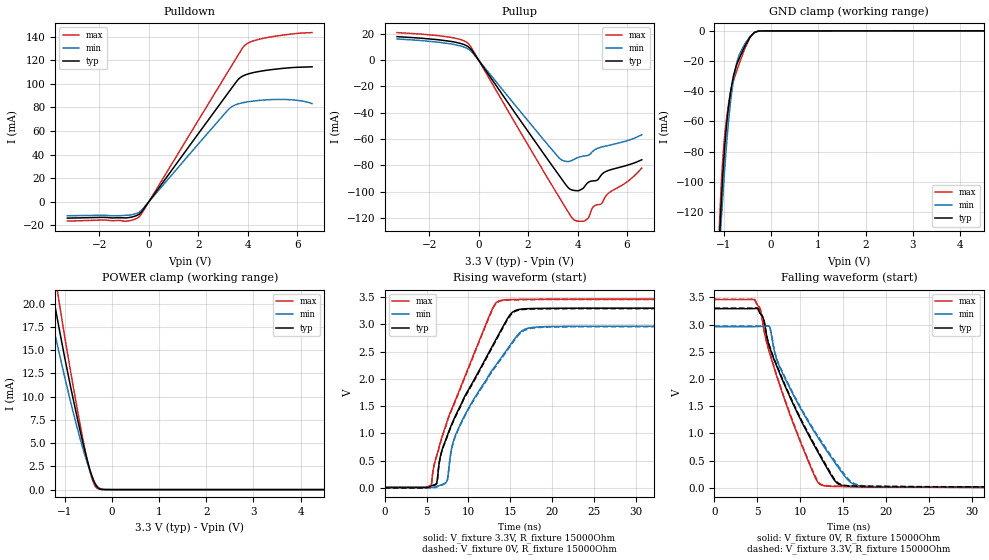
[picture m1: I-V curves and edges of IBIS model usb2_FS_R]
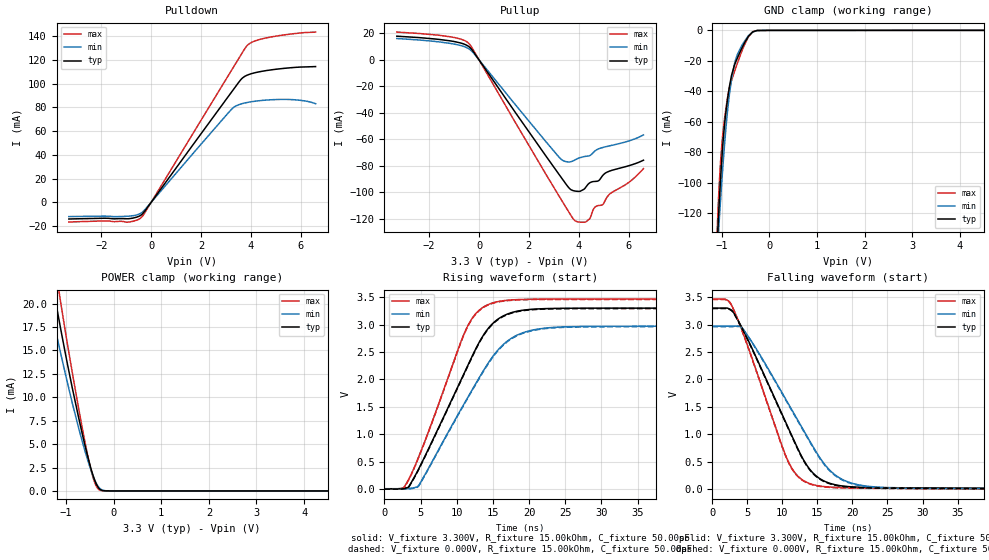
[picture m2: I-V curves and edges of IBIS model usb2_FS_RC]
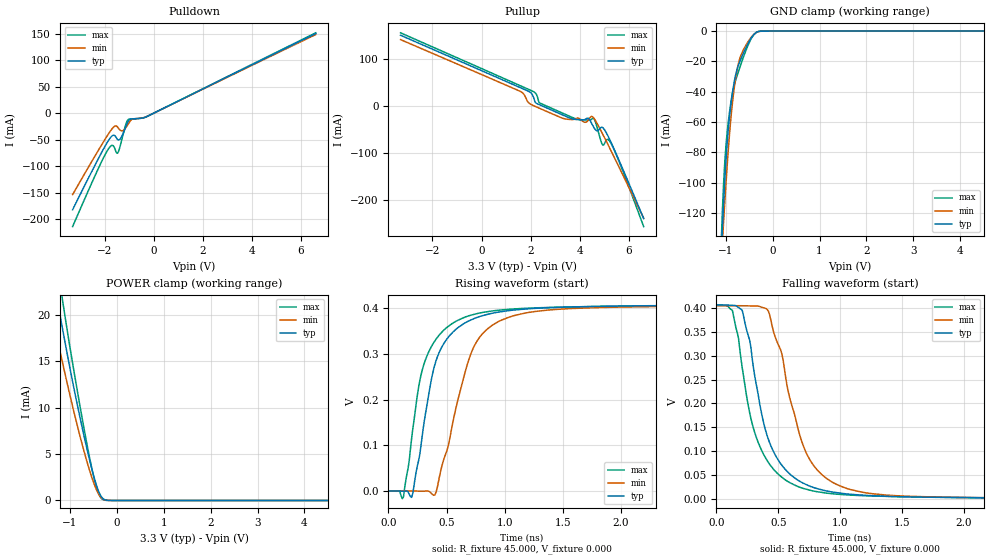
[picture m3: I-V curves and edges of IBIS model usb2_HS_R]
| Texas Instruments Incorporated
| Four-Port USB 2.0 Hub
| Marketing part#   Voltage Range   Package-type   Temperature
| TUSB4041PAP   2.97V - 3.465V   64-Pin PAP   -40 to 85 C
[IBIS Ver]   4.1
[File name]   tusb4041i.ibs
[File Rev]   1.0
[Date]   05/22/2014
[Source]   Model built from TISPICE simulations at:
   Texas Instruments Incorporated.
   Analog-eLab, HPA
   12500 TI Blvd
   Dallas, TX -75243
[Notes]   Rev 1.0: 09/08/2017
   - Model based on v1.0 IBIS model for TUSB8041q1 dated 02/28/2014
[Disclaimer] This product is designed as an aid for customers of Texas Instruments.
                No warranties, either expressed or implied, with respect to this third
                party software (if any) or with respect to its fitness for any
                particular purpose is claimed by Texas Instruments or the author. The
                software (if any) is provided solely on an "as is" basis. The entire
                risk as to its quality and performance is with the customer
[Copyright]   (C)Copyright 2014 Texas Instruments Incorporated.
   All rights reserved.
|   TUSB8041
[Component]   TUSB4041
[Manufacturer]  Texas Instruments Incorporated
[Package]   |64-pin PAP
|   typ   min   max
R_pkg   0.2389   0.0142   0.3346
L_pkg   2.3741nH   1.4298nH   2.8522nH
C_pkg   0.8499pF   0.7143pF   1.0609pF
[PIN]   signal_name   model_name   R_pin   L_pin   C_pin
1   PWRCTL3/BATEN3   BC3340DSHYPBFZP18PD   NA   NA   NA
2   VDD33   POWER   NA   NA   NA
3   PWRCTL2/BATEN2   BC3340DSHYPBFZP18PD   NA   NA   NA
4   PWRCTL1/BATEN1   BC3340DSHYPBFZP18PD   NA   NA   NA
5   SDA/SMBDAT   BC3340DSHYPBFZP18PD   NA   NA   NA
6   SCL/SMBCLK   BC3340DSHYPBFZP18PD   NA   NA   NA
7   SMBUSZ   BC3340DSHYPBFZP18PU   NA   NA   NA
8   FULLPWRMGMTz/SMBA1   BC3340DSHYPBFZP18PD   NA   NA   NA
9   POWCTL_POL   BC3340DSHYPBFZP18PU   NA   NA   NA
10   GANGED/SMBAS2/HS_UP   BC3340DSHYPBFZP18PD   NA   NA   NA
11   OVERCUR4Z   IC33SHYPBFZP18PU   NA   NA   NA
12   OVERCUR3Z   IC33SHYPBFZP18PU   NA   NA   NA
13   AUTOENZ/HS_SUSPEND   BC3340DSHYPBFZP18PU   NA   NA   NA
14   OVERCUR1Z   IC33SHYPBFZP18PU   NA   NA   NA
15   OVERCUR2Z   IC33SHYPBFZP18PU   NA   NA   NA
16   USB_VBUS   IC33SHYPBFZP18   NA   NA   NA
17   TEST   IC33SHYPBFZP18PD   NA   NA   NA
18   GRSTZ   IC33SHYPBFZP18PU   NA   NA   NA
19   VDD   POWER   NA   NA   NA
20   VDD33   POWER   NA   NA   NA
21   USB_DP_UP   usb2   NA   NA   NA
22   USB_DM_UP   usb2   NA   NA   NA
23   RSVD   NC   NA   NA   NA
24   RSVD   NC   NA   NA   NA
25   VDD   POWER   NA   NA   NA
26   RSVD   NC   NA   NA   NA
27   RSVD   NC   NA   NA   NA
28   NC   NC   NA   NA   NA
29   XO   NC   NA   NA   NA
30   XI   NC   NA   NA   NA
31   VDD33   POWER   NA   NA   NA
32   USB_R1   NC   NA   NA   NA
33   USB_DP_DN1   usb2   NA   NA   NA
34   USB_DM_DN1   usb2   NA   NA   NA
35   RSVD   NC   NA   NA   NA
36   RSVD   NC   NA   NA   NA
37   VDD   POWER   NA   NA   NA
38   RSVD   NC   NA   NA   NA
39   RSVD   NC   NA   NA   NA
40   NC   NC   NA   NA   NA
41   USB_DP_DN2   usb2   NA   NA   NA
42   USB_DM_DN2   usb2   NA   NA   NA
43   RSVD   NC   NA   NA   NA
44   RSVD   NC   NA   NA   NA
45   VDD   POWER   NA   NA   NA
46   RSVD   NC   NA   NA   NA
47   RSVD   NC   NA   NA   NA
48   VDD33   POWER   NA   NA   NA
49   USB_DP_DN3   usb2   NA   NA   NA
50   USB_DM_DN3   usb2   NA   NA   NA
51   RSVD   NC   NA   NA   NA
52   RSVD   NC   NA   NA   NA
53   VDD   POWER   NA   NA   NA
54   RSVD   NC   NA   NA   NA
55   RSVD   NC   NA   NA   NA
56   USB_DP_DN4   usb2   NA   NA   NA
57   USB_DM_DN4   usb2   NA   NA   NA
58   RSVD   NC   NA   NA   NA
59   RSVD   NC   NA   NA   NA
60   VDD   POWER   NA   NA   NA
61   RSVD   NC   NA   NA   NA
62   RSVD   NC   NA   NA   NA
63   VDD   POWER   NA   NA   NA
64   PWRCTL4/BATEN4   BC3340DSHYPBFZP18PD   NA   NA   NA
[Diff_pin]   inv_pin   vdiff   tdelay_typ   tdelay_min   tdelay_max
21   22   NA   NA   NA   NA
33   34   NA   NA   NA   NA
41   42   NA   NA   NA   NA
49   50   NA   NA   NA   NA
56   57   NA   NA   NA   NA
[Model Selector] usb2
usb2_HS_R   USB 2.0 High Speed mode, for DP/DM pin 240MHz
usb2_HS_RC   USB 2.0 High Speed mode, for DP/DM pin 240MHz, with Cfixture
usb2_FS_R   USB 2.0 Fast Speed mode, for DP/DM pin 6MHz
usb2_FS_RC   USB 2.0 Fast Speed mode, for DP/DM pin 6MHz, with Cfixture
usb2_LS_RC   USB 2.0 Low  Speed mode, for DP/DM pin 750kHz, with Cfixture
usb2_LS_R   USB 2.0 Low  Speed mode, for DP/DM pin 750kHz
[Model Selector] BC3340DSHYPBFZP18
HYPBFZP18_PI_5P_3P3 BUFFER WITHOUT PULLUP/PULLDOWN & 5% VDDS TOLERANCE
HYPBFZP18_PI_10P_3P3 BUFFER WITHOUT PULLUP/PULLDOWN & 10% VDDS TOLERANCE
[Model Selector] BC3340DSHYPBFZP18PU
FZP18_PU_PI_5P_3P3 BUFFER WITH WEAK PULLUP & 5% VDDS TOLERANCE
FZP18_PU_PI_10P_3P3 BUFFER WITH WEAK PULLUP & 10% VDDS TOLERANCE
[Model Selector] BC3340DSHYPBFZP18PD
FZP18_PD_PI_5P_3P3 BUFFER WITH WEAK PULLDOWN & 5% VDDS TOLERANCE
FZP18_PD_PI_10P_3P3 BUFFER WITH WEAK PULLDOWN & 10% VDDS TOLERANCE
[Model Selector] IC33SHYPBFZP18
C33SHYPBFZP18_10P BUFFER WITHOUT PULLUP/PULLDOWN & 10% VDDS TOLERANCE
C33SHYPBFZP18_5P  BUFFER WITHOUT PULLUP/PULLDOWN & 5% VDDS TOLERANCE
[Model Selector] IC33SHYPBFZP18PD
YPBFZP18_PD_5P BUFFER with WEAK PULLDOWN & 5% VDDS TOLERANCE
YPBFZP18_PD_10P BUFFER with WEAK PULLDOWN & 5% VDDS TOLERANCE
[Model Selector] IC33SHYPBFZP18PU
PBFZP18_PU_5P BUFFER with WEAK PULLUP & 5% VDDS TOLERANCE
PBFZP18_PU_10P BUFFER with WEAK PULLUP & 10% VDDS TOLERANCE
| Models and submodels in the file (18): usb2_FS_R (I/O), usb2_FS_RC (I/O), usb2_HS_R (I/O), usb2_HS_RC (I/O), usb2_LS_R (I/O), usb2_LS_RC (I/O), HYPBFZP18_PI_5P_3P3 (I/O), HYPBFZP18_PI_10P_3P3 (I/O), FZP18_PU_PI_5P_3P3 (I/O), FZP18_PU_PI_10P_3P3 (I/O), FZP18_PD_PI_5P_3P3 (I/O), FZP18_PD_PI_10P_3P3 (I/O), YPBFZP18_PD_10P (Input), PBFZP18_PU_10P (Input), C33SHYPBFZP18_10P (Input), YPBFZP18_PD_5P (Input), PBFZP18_PU_5P (Input), C33SHYPBFZP18_5P (Input)
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|   USB 2.0 Fast Speed mode, for DP pin 6MHz
[Model]   usb2_FS_R
Model_type   I/O
Polarity   Non-Inverting
Enable   Active-High
Vmeas = 1.54
Vref = 0
Rref = 15000
Cref = 50pF
Vinl = 0.8V
Vinh = 2.0V
|   typ   min   max
|   (nom PVT)   (Fast PVT)   (slow PVT)
C_comp   9.0376pF   8.9385pF   9.1512pF
[Voltage Range]   3.3   2.97   3.465
[Temperature Range]   27   105   -40
[Pullup Reference]   3.3   2.97   3.465
[Pulldown Reference]   -0   -0   -0
[Power Clamp Reference]   3.3   2.97   3.465
[GND Clamp Reference]   -0   -0   -0
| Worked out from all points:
|   slope of the pulldown table from 0 to 0.495 V, typ, clamps not added: 34.6 ohm
|   slope of the pullup table from 0 to 0.495 V, typ, clamps not added: 36.8 ohm
|   GND clamp passes 1 mA (typ) near -0.35 V on its own axis
|   POWER clamp passes 1 mA (typ) near -0.39 V on its own axis
|   falling waveform, V_fixture 0V, R_fixture 15000Ohm: 20-80 % time 5.73ns typ, 6.23ns min, 4.47ns max; typ from 3.29 V to 0 V
|   rising waveform, V_fixture 3.3V, R_fixture 15000Ohm: 20-80 % time 6.21ns typ, 6.02ns min, 5.07ns max; typ from 0.008 V to 3.3 V
|   rising waveform, V_fixture 0V, R_fixture 15000Ohm: 20-80 % time 6.24ns typ, 6.08ns min, 5.09ns max; typ from 0 V to 3.29 V
|   falling waveform, V_fixture 3.3V, R_fixture 15000Ohm: 20-80 % time 5.77ns typ, 6.3ns min, 4.5ns max; typ from 3.3 V to 0.008 V
[Pulldown]
|   Voltage   I(typ)   I(min)   I(max)
-3.3V     -13.97mA   -11.94mA   -16.5mA
-1.865V   -13.31mA   -11.55mA   -15.58mA
-948.8mV  -13.78mA   -11.64mA   -16.64mA
-429mV    -11.05mA   -9.328mA   -13.36mA
-255.8mV  -7.37mA    -6.247mA   -8.827mA
3.234V    93.1mA     78.54mA    111.5mA
3.61V     103.6mA    82.92mA    124.4mA
3.858V    107.2mA    84.17mA    132.2mA
4.15V     109.1mA    85.16mA    135.8mA
4.714V    111.3mA    86.32mA    138.9mA
5.798V    113.7mA    86.37mA    142.3mA
6.6V      114.4mA    83.14mA    143.4mA
[GND Clamp]
|   Voltage   I(typ)   I(min)   I(max)
-3.3V     -2.986A    -2.594A    -3.408A
-1.102V   -142.8mA   -148.5mA   -133.6mA
-1.068V   -120.4mA   -130.9mA   -108.6mA
-1.053V   -111.5mA   -123.5mA   -99.43mA
-1.028V   -97.72mA   -111.6mA   -86.34mA
-948.8mV  -63.66mA   -76.9mA    -59.29mA
-874.5mV  -43.76mA   -51.14mA   -43.02mA
-795.3mV  -29.32mA   -31.84mA   -32.77mA
-676.5mV  -18.29mA   -15.93mA   -21.75mA
-458.7mV  -4.679mA   -4.168mA   -5.163mA
-349.8mV  -954.6uA   -1.019mA   -868.7uA
6.6V      27.44uA    21.44uA    34.47uA
[Pullup]
|   Voltage   I(typ)   I(min)   I(max)
-3.3V     17.86mA    16.11mA    20.95mA
-1.162V   14.34mA    12.44mA    17.42mA
-374.6mV  9.504mA    7.922mA    11.72mA
3.224V    -86.72mA   -73.66mA   -103.1mA
3.625V    -96.87mA   -77.02mA   -115.4mA
3.863V    -98.94mA   -75.34mA   -121.4mA
4.303V    -95.54mA   -72.68mA   -122mA
4.452V    -92.62mA   -72.08mA   -119.5mA
4.655V    -91.65mA   -68.64mA   -111mA
4.962V    -87.23mA   -66.09mA   -109.1mA
5.14V     -84.63mA   -65.26mA   -103.4mA
6.6V      -75.66mA   -56.61mA   -82.01mA
[POWER Clamp]
|   Voltage   I(typ)   I(min)   I(max)
-3.3V     96.11mA    80.39mA    114.3mA
-1.409V   25.5mA     21.48mA    30.05mA
-1.315V   22.86mA    19.29mA    26.86mA
-1.246V   20.93mA    17.7mA     24.52mA
-1.127V   17.68mA    15mA       20.59mA
-854.7mV  10.64mA    9.089mA    12.22mA
-567.6mV  4.132mA    3.664mA    4.338mA
-419.1mV  1.439mA    1.425mA    1.205mA
-359.7mV  684.8uA    768.2uA    455.6uA
-290.4mV  187uA      273.4uA    86.97uA
0V        0A         0A         0A
6.6V      0A         0A         0A
[Ramp]
R_load = 15000
|   typ   min   max
dV/dt_r   1.97481/6.20846e-009   1.77621/6.02152e-009   2.07437/5.07374e-009
dV/dt_f   1.97455/5.7255e-009   1.77598/6.2317e-009   2.07413/4.47102e-009
[Falling Waveform]
V_fixture = 0V
V_fixture_min = 0V
V_fixture_max = 0V
R_fixture = 15000Ohm
C_fixture = 0F
|   Time   V(typ)   V(min)   V(max)
0s        3.291V     2.961V     3.457V
4.7ns     3.293V     2.961V     3.458V
5.7ns     3.108V     2.967V     2.957V
6.4ns     2.601V     2.967V     2.494V
7.5ns     2.143V     2.254V     1.936V
11.4ns    846.1mV    1.091V     316.1mV
12.6ns    506.4mV    796.2mV    44.4mV
14.4ns    75.51mV    384.1mV    24.24mV
17.5ns    21.5mV     25.98mV    19.1mV
84.9ns    94.35uV    653.8uV    37.35uV
[Rising Waveform]
|Vcc
V_fixture = 3.3V
V_fixture_min = 2.97V
V_fixture_max = 3.465V
R_fixture = 15000Ohm
C_fixture = 0F
|   Time   V(typ)   V(min)   V(max)
0s        7.658mV    8.716mV    6.679mV
5.5ns     34.03mV    9.217mV    46.24mV
6.2ns     85.76mV    22.01mV    590.8mV
6.6ns     542.7mV    47.18mV    807.5mV
7.4ns     926.5mV    115.1mV    1.193V
8.6ns     1.371V     1.019V     1.668V
13.8ns    2.867V     2.361V     3.438V
15.3ns    3.227V     2.686V     3.457V
18.1ns    3.293V     2.951V     3.462V
84.9ns    3.299V     2.969V     3.464V
[Rising Waveform]
V_fixture = 0V
V_fixture_min = 0V
V_fixture_max = 0V
R_fixture = 15000Ohm
C_fixture = 0F
|   Time   V(typ)   V(min)   V(max)
0s        100.2uV    720.6uV    39.4uV
5.5ns     26.33mV    1.222mV    39.41mV
6.2ns     77.72mV    13.9mV     579.6mV
6.6ns     530.5mV    39.01mV    795.4mV
7.4ns     911.9mV    106.6mV    1.179V
8.6ns     1.353V     1.003V     1.653V
13.8ns    2.848V     2.339V     3.429V
15.5ns    3.233V     2.707V     3.45V
18.3ns    3.285V     2.942V     3.455V
84.9ns    3.291V     2.961V     3.457V
[Falling Waveform]
|Gnd
V_fixture = 3.3V
V_fixture_min = 2.97V
V_fixture_max = 3.465V
R_fixture = 15000Ohm
C_fixture = 0F
|   Time   V(typ)   V(min)   V(max)
0s        3.299V     2.969V     3.464V
4.7ns     3.301V     2.97V      3.465V
5.7ns     3.117V     2.975V     2.966V
6.4ns     2.614V     2.976V     2.506V
7.5ns     2.159V     2.27V      1.952V
11.5ns    841mV      1.091V     299.3mV
12.7ns    502.5mV    798.8mV    49.57mV
14.4ns    91.03mV    411.2mV    31.27mV
17.6ns    29.38mV    35.57mV    25.66mV
84.9ns    7.652mV    8.648mV    6.677mV
|   USB 2.0 Fast Speed mode, for DM pin 6MHz
[Model]   usb2_FS_RC
Model_type   I/O
Polarity   Non-Inverting
Enable   Active-High
Vmeas = 1.54
Vref = 0
Rref = 15000
Cref = 50pF
Vinl = 0.8V
Vinh = 2.0V
|   typ   min   max
|   (nom PVT)   (Fast PVT)   (slow PVT)
C_comp   9.0376pF   8.9385pF   9.1512pF
[Voltage Range]   3.3   2.97   3.465
[Temperature Range]   27   105   -40
[Pullup Reference]   3.3   2.97   3.465
[Pulldown Reference]   -0   -0   -0
[Power Clamp Reference]   3.3   2.97   3.465
[GND Clamp Reference]   -0   -0   -0
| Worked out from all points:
|   slope of the pulldown table from 0 to 0.495 V, typ, clamps not added: 34.6 ohm
|   slope of the pullup table from 0 to 0.495 V, typ, clamps not added: 36.8 ohm
|   GND clamp passes 1 mA (typ) near -0.35 V on its own axis
|   POWER clamp passes 1 mA (typ) near -0.39 V on its own axis
|   falling waveform, V_fixture 3.300V, R_fixture 15.00kOhm, C_fixture 50.00pF: 20-80 % time 7.09ns typ, 8.08ns min, 5.62ns max; typ from 3.3 V to 0.008 V
|   rising waveform, V_fixture 3.300V, R_fixture 15.00kOhm, C_fixture 50.00pF: 20-80 % time 7.12ns typ, 7.76ns min, 5.77ns max; typ from 0.008 V to 3.3 V
|   rising waveform, V_fixture 0.000V, R_fixture 15.00kOhm, C_fixture 50.00pF: 20-80 % time 7.12ns typ, 7.77ns min, 5.77ns max; typ from 0 V to 3.29 V
|   falling waveform, V_fixture 0.000V, R_fixture 15.00kOhm, C_fixture 50.00pF: 20-80 % time 7.08ns typ, 8.07ns min, 5.61ns max; typ from 3.29 V to 0 V
[Pulldown]
|   Voltage   I(typ)   I(min)   I(max)
-3.3V     -13.97mA   -11.94mA   -16.5mA
-1.865V   -13.31mA   -11.55mA   -15.58mA
-948.8mV  -13.78mA   -11.64mA   -16.64mA
-429mV    -11.05mA   -9.328mA   -13.36mA
-255.8mV  -7.37mA    -6.247mA   -8.827mA
3.234V    93.1mA     78.54mA    111.5mA
3.61V     103.6mA    82.92mA    124.4mA
3.858V    107.2mA    84.17mA    132.2mA
4.15V     109.1mA    85.16mA    135.8mA
4.714V    111.3mA    86.32mA    138.9mA
5.798V    113.7mA    86.37mA    142.3mA
6.6V      114.4mA    83.14mA    143.4mA
[GND Clamp]
|   Voltage   I(typ)   I(min)   I(max)
-3.3V     -2.986A    -2.594A    -3.408A
-1.102V   -142.8mA   -148.5mA   -133.6mA
-1.068V   -120.4mA   -130.9mA   -108.6mA
-1.053V   -111.5mA   -123.5mA   -99.43mA
-1.028V   -97.72mA   -111.6mA   -86.34mA
-948.8mV  -63.66mA   -76.9mA    -59.29mA
-874.5mV  -43.76mA   -51.14mA   -43.02mA
-795.3mV  -29.32mA   -31.84mA   -32.77mA
-676.5mV  -18.29mA   -15.93mA   -21.75mA
-458.7mV  -4.679mA   -4.168mA   -5.163mA
-349.8mV  -954.6uA   -1.019mA   -868.7uA
6.6V      27.44uA    21.44uA    34.47uA
[Pullup]
|   Voltage   I(typ)   I(min)   I(max)
-3.3V     17.86mA    16.11mA    20.95mA
-1.162V   14.34mA    12.44mA    17.42mA
-374.6mV  9.504mA    7.922mA    11.72mA
3.224V    -86.72mA   -73.66mA   -103.1mA
3.625V    -96.87mA   -77.02mA   -115.4mA
3.863V    -98.94mA   -75.34mA   -121.4mA
4.303V    -95.54mA   -72.68mA   -122mA
4.452V    -92.62mA   -72.08mA   -119.5mA
4.655V    -91.65mA   -68.64mA   -111mA
4.962V    -87.23mA   -66.09mA   -109.1mA
5.14V     -84.63mA   -65.26mA   -103.4mA
6.6V      -75.66mA   -56.61mA   -82.01mA
[POWER Clamp]
|   Voltage   I(typ)   I(min)   I(max)
-3.3V     96.11mA    80.39mA    114.3mA
-1.409V   25.5mA     21.48mA    30.05mA
-1.315V   22.86mA    19.29mA    26.86mA
-1.246V   20.93mA    17.7mA     24.52mA
-1.127V   17.68mA    15mA       20.59mA
-854.7mV  10.64mA    9.089mA    12.22mA
-567.6mV  4.132mA    3.664mA    4.338mA
-419.1mV  1.439mA    1.425mA    1.205mA
-359.7mV  684.8uA    768.2uA    455.6uA
-290.4mV  187uA      273.4uA    86.97uA
0V        0A         0A         0A
6.6V      0A         0A         0A
[Ramp]
R_load = 15.00kOhm
|   typ   min   max
dV/dt_r   1.975V/7.118ns   1.776V/7.768ns   2.074V/5.764ns
dV/dt_f   1.975V/7.089ns   1.777V/8.081ns   2.074V/5.614ns
[Falling Waveform]
V_fixture = 3.300V
V_fixture_min = 2.970V
V_fixture_max = 3.465V
R_fixture = 15.00kOhm
C_fixture = 50.00pF
|   Time   V(typ)   V(min)   V(max)
0s        3.299V     2.969V     3.464V
2.4ns     3.286V     2.97V      3.419V
4.2ns     2.947V     2.947V     2.907V
10.69ns   1.157V     1.59V      545mV
12.14ns   753.6mV    1.267V     246.5mV
14.07ns   335.9mV    840.6mV    94.42mV
15.85ns   154.3mV    481.3mV    48.71mV
17.64ns   77.37mV    248.2mV    32.68mV
22.25ns   29.92mV    52.16mV    21.45mV
83.29ns   7.582mV    8.019mV    6.667mV
[Rising Waveform]
V_fixture = 3.300V
V_fixture_min = 2.970V
V_fixture_max = 3.465V
R_fixture = 15.00kOhm
C_fixture = 50.00pF
|   Time   V(typ)   V(min)   V(max)
0s        7.582mV    8.019mV    6.667mV
2.63ns    14.86mV    8.107mV    23.09mV
3.35ns    42.86mV    10.65mV    176.9mV
4.68ns    354.6mV    57.1mV     571.4mV
11.34ns   2.202V     1.63V      2.927V
12.88ns   2.621V     1.981V     3.234V
14.9ns    3.01V      2.403V     3.391V
18.36ns   3.243V     2.808V     3.454V
23.8ns    3.294V     2.952V     3.463V
83.29ns   3.299V     2.969V     3.464V
[Rising Waveform]
V_fixture = 0.000V
V_fixture_min = 0.000V
V_fixture_max = 0.000V
R_fixture = 15.00kOhm
C_fixture = 50.00pF
|   Time   V(typ)   V(min)   V(max)
0s        3.197uV    8.923uV    4.349uV
2.63ns    7.278mV    96.94uV    16.39mV
3.36ns    36.84mV    2.771mV    171.8mV
4.68ns    345.4mV    48.95mV    562.8mV
11.35ns   2.193V     1.621V     2.921V
12.89ns   2.613V     1.97V      3.227V
14.91ns   3.001V     2.393V     3.384V
18.18ns   3.229V     2.786V     3.446V
23.01ns   3.284V     2.936V     3.456V
83.29ns   3.291V     2.961V     3.457V
[Falling Waveform]
V_fixture = 0.000V
V_fixture_min = 0.000V
V_fixture_max = 0.000V
R_fixture = 15.00kOhm
C_fixture = 50.00pF
|   Time   V(typ)   V(min)   V(max)
0s        3.291V     2.961V     3.457V
2.4ns     3.278V     2.961V     3.412V
4.2ns     2.937V     2.938V     2.898V
10.67ns   1.15V      1.581V     540.7mV
12.12ns   746.6mV    1.258V     240.7mV
14.05ns   328.3mV    831mV      87.96mV
15.83ns   146.5mV    471.7mV    42.08mV
17.61ns   69.9mV     239.9mV    26.07mV
22.23ns   22.29mV    43.83mV    14.8mV
83.29ns   3.197uV    8.923uV    4.349uV
|   USB 2.0 High Speed mode, for DP pin 240MHz (Internal Termination ON)
[Model]   usb2_HS_R
Model_type   I/O
Polarity   Non-Inverting
Enable   Active-High
Vmeas = 202mV
Vref = 0
Rref = 45
Cref =1pF
Vinl = 150mV
Vinh = 360mV
|   typ   min   max
|EXCEPTION   (nom PVT)   (Slow PVT) (Fast PVT)
C_comp   6.3538pF   6.1002pF   6.4829pF
|5.8941pF   5.4228pF   6.1646pF
[Voltage Range]   3.3   2.97   3.465
[Temperature Range]   27   105   -40
[Pullup Reference]   3.3   2.97   3.465
[Pulldown Reference]   0   0   0
[Power Clamp Reference]   3.3   2.97   3.465
[GND Clamp Reference]   0   0   0
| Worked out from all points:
|   slope of the pulldown table from 0 to 0.495 V, typ, clamps not added: 43.6 ohm
|   slope of the pullup table from 0 to 0.495 V, typ, clamps not added: 43.7 ohm
|   GND clamp passes 1 mA (typ) near -0.35 V on its own axis
|   POWER clamp passes 1 mA (typ) near -0.39 V on its own axis
|   rising waveform, R_fixture 45.000, V_fixture 0.000: 20-80 % time 214ps typ, 261ps min, 207ps max; typ from 0 V to 0.407 V
|   falling waveform, R_fixture 45.000, V_fixture 0.000: 20-80 % time 225ps typ, 258ps min, 223ps max; typ from 0.407 V to 0 V
[Pulldown]
|   Voltage   I(typ)   I(min)   I(max)
-3.3V     -182.7mA   -154mA     -214.5mA
-2.109V   -73.47mA   -59.12mA   -90.55mA
-1.836V   -51.34mA   -38.81mA   -67.06mA
-1.687V   -42.74mA   -29.04mA   -60.76mA
-1.588V   -42.26mA   -24.56mA   -66.11mA
-1.464V   -49.94mA   -26.46mA   -75.27mA
-1.265V   -40.67mA   -33.14mA   -44.1mA
-1.141V   -26.63mA   -28.06mA   -22.45mA
-1.042V   -16mA      -21.02mA   -12.18mA
-868.4mV  -10.68mA   -11.28mA   -10.85mA
-297.7mV  -6.74mA    -6.624mA   -6.826mA
6.6V      150.7mA    148.8mA    152.1mA
[GND Clamp]
|   Voltage   I(typ)   I(min)   I(max)
-3.3V     -3.521A    -2.996A    -4.111A
-1.092V   -145.9mA   -151.2mA   -136.4mA
-1.067V   -128.4mA   -137.7mA   -116.4mA
-1.042V   -112.2mA   -124.7mA   -99.36mA
-1.017V   -97.56mA   -112.1mA   -85.68mA
-967.7mV  -73.5mA    -88.57mA   -66.63mA
-893.2mV  -49.51mA   -59.02mA   -47.86mA
-818.8mV  -33.69mA   -37.74mA   -35.76mA
-669.9mV  -17.99mA   -15.57mA   -21.42mA
-471.4mV  -5.326mA   -4.698mA   -5.944mA
-322.6mV  -523.8uA   -615.4uA   -432uA
6.6V      27.34uA    21.38uA    34.43uA
[Pullup]
|   Voltage   I(typ)   I(min)   I(max)
-3.3V     150.7mA    141.5mA    155.9mA
1.588V    39.24mA    31.21mA    43.36mA
2.084V    22.84mA    2.078mA    31.83mA
2.357V    3.277mA    -4.287mA   7.257mA
3.25V     -17.25mA   -24.5mA    -13.49mA
4.342V    -25.52mA   -29.54mA   -29.28mA
4.565V    -44.49mA   -24.78mA   -25.96mA
4.714V    -52.12mA   -37.54mA   -46.83mA
4.913V    -44.86mA   -57.23mA   -80.87mA
5.086V    -57mA      -75.14mA   -71.32mA
5.434V    -95.43mA   -111.8mA   -96.58mA
6.6V      -238.4mA   -237.7mA   -255.4mA
[POWER Clamp]
|   Voltage   I(typ)   I(min)   I(max)
-3.3V     96.73mA    79.76mA    115.2mA
-1.439V   26.41mA    21.36mA    31.18mA
-1.265V   21.53mA    17.34mA    25.27mA
-1.241V   20.85mA    16.77mA    24.43mA
-1.141V   18.11mA    14.53mA    21.12mA
-843.6mV  10.39mA    8.125mA    11.91mA
-570.7mV  4.197mA    3.107mA    4.415mA
-421.8mV  1.476mA    1.033mA    1.243mA
-372.2mV  816.7uA    565.7uA    573.1uA
-297.7mV  217.2uA    160.3uA    102.4uA
0V        0A         0A         0A
6.6V      0A         0A         0A
[Ramp]
R_load = 45
|   typ   min   max
dV/dt_r   0.241436/2.13719e-10   0.240166/2.60796e-10   0.241677/2.07061e-10
dV/dt_f   0.241444/2.2514e-10   0.240152/2.57832e-10   0.241591/2.23371e-10
[Rising Waveform]
R_fixture = 45.000
V_fixture = 0.000
V_fixture_min = 0.000
V_fixture_max = 0.000
|  time   V(typ)   V(min)   V(max)
0s        11.24uV    5.401uV    22.98uV
130ps     -771.8uV   -133.3uV   -13.14mV
200ps     -14.17mV   -290.1uV   114.9mV
280ps     98.17mV    -662uV     252.8mV
400ps     276.5mV    -8.747mV   328.3mV
600ps     357.5mV    201.2mV    373.6mV
700ps     372.9mV    293.4mV    383.8mV
780ps     381.2mV    334.5mV    389mV
1.08ns    395.8mV    383.6mV    398.2mV
3.4ns     407mV      405.3mV    406.8mV
[Falling Waveform]
R_fixture = 45.000
V_fixture = 0.000
V_fixture_min = 0.000
V_fixture_max = 0.000
|  time   V(typ)   V(min)   V(max)
0s        407mV      405.3mV    406.8mV
130ps     406mV      405.4mV    395.7mV
210ps     395.4mV    405.3mV    274.2mV
300ps     275.3mV    404.8mV    148mV
420ps     125.3mV    394.3mV    76.43mV
530ps     70.04mV    303.9mV    44.94mV
640ps     42.29mV    169.1mV    27.77mV
790ps     23.09mV    68.43mV    15.83mV
1.08ns    9.333mV    19.46mV    7.581mV
3.4ns     11.24uV    5.401uV    22.98uV
